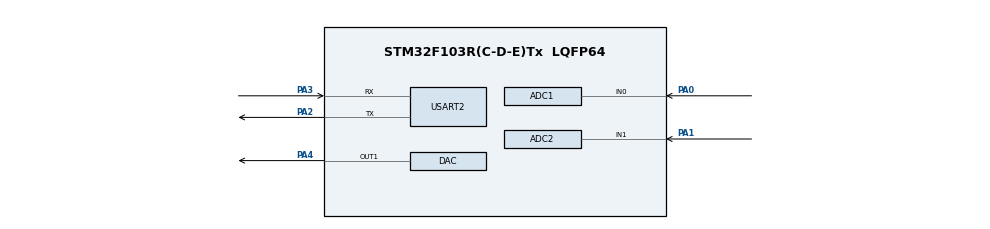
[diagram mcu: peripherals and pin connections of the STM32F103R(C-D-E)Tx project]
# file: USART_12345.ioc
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ADC1.Channel-0\#ChannelRegularConversion=ADC_CHANNEL_0
ADC1.EnableAnalogWatchDog=false
ADC1.EnableInjectedConversion=DISABLE
ADC1.InjNumberOfConversion=2
ADC1.NbrOfConversionFlag=1
ADC1.Rank-0\#ChannelRegularConversion=1
ADC1.SamplingTime-0\#ChannelRegularConversion=ADC_SAMPLETIME_1CYCLE_5
ADC1.master=1
ADC2.Channel-3\#ChannelRegularConversion=ADC_CHANNEL_1
ADC2.NbrOfConversionFlag=1
ADC2.Rank-3\#ChannelRegularConversion=1
ADC2.SamplingTime-3\#ChannelRegularConversion=ADC_SAMPLETIME_1CYCLE_5
Mcu.Family=STM32F1
Mcu.Name=STM32F103R(C-D-E)Tx
Mcu.Package=LQFP64
NVIC.ADC1_2_IRQn=true\:0\:0\:false\:false\:true\:true\:true
NVIC.PriorityGroup=NVIC_PRIORITYGROUP_4
NVIC.TIM4_IRQn=true\:0\:0\:false\:false\:true\:true\:true
NVIC.USART2_IRQn=true\:0\:0\:false\:false\:true\:true\:true
PA0-WKUP.Signal=ADCx_IN0
PA1.Signal=ADCx_IN1
PA13.Mode=Serial_Wire
PA13.Signal=SYS_JTMS-SWDIO
PA14.Mode=Serial_Wire
PA14.Signal=SYS_JTCK-SWCLK
PA2.Mode=Asynchronous
PA2.Signal=USART2_TX
PA3.Mode=Asynchronous
PA3.Signal=USART2_RX
PA4.Signal=COMP_DAC1_group
ProjectManager.HeapSize=0x200
ProjectManager.StackSize=0x400
ProjectManager.TargetToolchain=MDK-ARM V5.27
RCC.APB1Freq_Value=8000000
RCC.APB2Freq_Value=8000000
SH.ADCx_IN0.0=ADC1_IN0,IN0
SH.ADCx_IN1.0=ADC2_IN1,IN1
SH.COMP_DAC1_group.0=DAC_OUT1,DAC_OUT1
TIM4.Period=7999
TIM4.Prescaler=999
USART2.VirtualMode=VM_ASYNC
VP_TIM4_VS_ClockSourceINT.Mode=Internal
board=custom

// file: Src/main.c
/* USER CODE BEGIN Header */
/**
  ******************************************************************************
  * @file           : main.c
  * @brief          : Main program body
  ******************************************************************************
  * @attention
  *
  * <h2><center>&copy; Copyright (c) 2020 STMicroelectronics.
  * All rights reserved.</center></h2>
  *
  * This software component is licensed by ST under BSD 3-Clause license,
  * the "License"; You may not use this file except in compliance with the
  * License. You may obtain a copy of the License at:
  *                        opensource.org/licenses/BSD-3-Clause
  *
  ******************************************************************************
  */
/* USER CODE END Header */

#include "main.h"
#include "stdio.h"

ADC_HandleTypeDef hadc1;
ADC_HandleTypeDef hadc2;

DAC_HandleTypeDef hdac;

TIM_HandleTypeDef htim4;

UART_HandleTypeDef huart2;

void SystemClock_Config(void);
static void MX_GPIO_Init(void);
static void MX_TIM4_Init(void);
static void MX_USART2_UART_Init(void);
static void MX_ADC1_Init(void);
static void MX_DAC_Init(void);
static void MX_ADC2_Init(void);

int main(void)
{
  /* USER CODE BEGIN 1 */

	//USART
	float u1;	// Peremennaia dla peredachi po USART 1
	float a2; // Peremennaia dla peredachi po USART 2

	//Schetchik
	uint16_t d; // shcentchik discret

	//USART frame
	char str1[21];// dlia voltage
	char str2[21];// dlia toka
	char str3[21];// dlia discret
	//Koefficient ysilenia
	//int k;

	//uint8_t slstroka[]="\r\n";

	//char kek[9];
  /* USER CODE END 1 */

  /* MCU Configuration--------------------------------------------------------*/

  /* Reset of all peripherals, Initializes the Flash interface and the Systick. */
  HAL_Init();

  /* Configure the system clock */
  SystemClock_Config();

  /* Initialize all configured peripherals */
  MX_GPIO_Init();
  MX_TIM4_Init();
  MX_USART2_UART_Init();
  MX_ADC1_Init();
  MX_DAC_Init();
  MX_ADC2_Init();

  /* USER CODE BEGIN 2 */
	HAL_DAC_Start(&hdac, DAC_CHANNEL_1);// nachalo raboti
	//HAL_ADC_Start(&hadc1);// vkluschenie preobrazovania ACD
  /* USER CODE END 2 */

  /* Infinite loop */
  /* USER CODE BEGIN WHILE */
		HAL_Delay(1000);// predvaritelnai zadergka
		d=0;
  while (d<4095)
  {
		d=d+90;
		if (d==4095)
		break;

		// DAC
		HAL_DAC_Start(&hdac, DAC_CHANNEL_1);// nachalo raboti
		HAL_DAC_SetValue(&hdac, DAC_CHANNEL_1, DAC_ALIGN_12B_R,d);// podacha volt
		HAL_Delay(100);

		// ADC-1
		HAL_ADC_Start(&hadc1);// vkluschenie preobrazovania ACD
		HAL_ADC_PollForConversion (&hadc1,100);// gdem okonchanie processa
		u1= ((float)HAL_ADC_GetValue (&hadc1))*3.3/4095;// predstavlenie v voltax
		//u1= ((float)HAL_ADC_GetValue (&hadc1));// disckretnoe predstavlenie
		HAL_ADC_Stop(&hadc1);// ostanovka preobrazovania

		//ADC-2
		HAL_ADC_Start(&hadc2);// vkluschenie preobrazovania ACD
		HAL_ADC_PollForConversion (&hadc2,100);// gdem okonchanie processa
		a2= -(float)(((((float)HAL_ADC_GetValue (&hadc2))*3.3/4095)/8.2-0.402)*1000);// predstavlenie v ampier
		//u2= ((float)HAL_ADC_GetValue (&hadc2));// disckretnoe predstavlenie
		HAL_ADC_Stop(&hadc2);// ostanovka preobrazovania

		//Coefficient ysilenia
		//k=;
		//USART PEREDACHA
		sprintf( str1,"%.3f V__",u1);// preobrazovanie resultata v stroky
		HAL_UART_Transmit(&huart2,(uint8_t*)str1 ,9,0xFFFF);// otpravka dannix
		HAL_Delay(100);

		sprintf( str2,"%.3f mA__",a2);// preobrazovanie resultata v stroky
		HAL_UART_Transmit(&huart2,(uint8_t*)str2 ,9,0xFFFF);// otpravka dannix
		HAL_Delay(100);

		sprintf( str3,"__%d \r\n  ",d);// preobrazovanie resultata v stroky
		HAL_UART_Transmit(&huart2,(uint8_t*)str3 ,8,0xFFFF);// otpravka dannix
		HAL_Delay(100);

		//ZADERGKA
		HAL_Delay(500);

    /* USER CODE END WHILE */

  }
}

void SystemClock_Config(void)

{
  RCC_OscInitTypeDef RCC_OscInitStruct = {0};
  RCC_ClkInitTypeDef RCC_ClkInitStruct = {0};
  RCC_PeriphCLKInitTypeDef PeriphClkInit = {0};

  /** Initializes the CPU, AHB and APB busses clocks
  */
  RCC_OscInitStruct.OscillatorType = RCC_OSCILLATORTYPE_HSI;
  RCC_OscInitStruct.HSIState = RCC_HSI_ON;
  RCC_OscInitStruct.HSICalibrationValue = RCC_HSICALIBRATION_DEFAULT;
  RCC_OscInitStruct.PLL.PLLState = RCC_PLL_NONE;
  if (HAL_RCC_OscConfig(&RCC_OscInitStruct) != HAL_OK)
  {
    Error_Handler();
  }
  /** Initializes the CPU, AHB and APB busses clocks
  */
  RCC_ClkInitStruct.ClockType = RCC_CLOCKTYPE_HCLK|RCC_CLOCKTYPE_SYSCLK
                              |RCC_CLOCKTYPE_PCLK1|RCC_CLOCKTYPE_PCLK2;
  RCC_ClkInitStruct.SYSCLKSource = RCC_SYSCLKSOURCE_HSI;
  RCC_ClkInitStruct.AHBCLKDivider = RCC_SYSCLK_DIV1;
  RCC_ClkInitStruct.APB1CLKDivider = RCC_HCLK_DIV1;
  RCC_ClkInitStruct.APB2CLKDivider = RCC_HCLK_DIV1;

  if (HAL_RCC_ClockConfig(&RCC_ClkInitStruct, FLASH_LATENCY_0) != HAL_OK)
  {
    Error_Handler();
  }
  PeriphClkInit.PeriphClockSelection = RCC_PERIPHCLK_ADC;
  PeriphClkInit.AdcClockSelection = RCC_ADCPCLK2_DIV2;
  if (HAL_RCCEx_PeriphCLKConfig(&PeriphClkInit) != HAL_OK)
  {
    Error_Handler();
  }
}

static void MX_ADC1_Init(void)
{

  ADC_ChannelConfTypeDef sConfig = {0};

  /** Common config
  */
  hadc1.Instance = ADC1;
  hadc1.Init.ScanConvMode = ADC_SCAN_ENABLE;
  hadc1.Init.ContinuousConvMode = DISABLE;
  hadc1.Init.DiscontinuousConvMode = DISABLE;
  hadc1.Init.ExternalTrigConv = ADC_SOFTWARE_START;
  hadc1.Init.DataAlign = ADC_DATAALIGN_RIGHT;
  hadc1.Init.NbrOfConversion = 1;
  if (HAL_ADC_Init(&hadc1) != HAL_OK)
  {
    Error_Handler();
  }
  /** Configure Regular Channel
  */
  sConfig.Channel = ADC_CHANNEL_0;
  sConfig.Rank = ADC_REGULAR_RANK_1;
  sConfig.SamplingTime = ADC_SAMPLETIME_1CYCLE_5;
  if (HAL_ADC_ConfigChannel(&hadc1, &sConfig) != HAL_OK)
  {
    Error_Handler();
  }

}

static void MX_ADC2_Init(void)
{

  ADC_ChannelConfTypeDef sConfig = {0};

  /** Common config
  */
  hadc2.Instance = ADC2;
  hadc2.Init.ScanConvMode = ADC_SCAN_DISABLE;
  hadc2.Init.ContinuousConvMode = DISABLE;
  hadc2.Init.DiscontinuousConvMode = DISABLE;
  hadc2.Init.ExternalTrigConv = ADC_SOFTWARE_START;
  hadc2.Init.DataAlign = ADC_DATAALIGN_RIGHT;
  hadc2.Init.NbrOfConversion = 1;
  if (HAL_ADC_Init(&hadc2) != HAL_OK)
  {
    Error_Handler();
  }
  /** Configure Regular Channel
  */
  sConfig.Channel = ADC_CHANNEL_1;
  sConfig.Rank = ADC_REGULAR_RANK_1;
  sConfig.SamplingTime = ADC_SAMPLETIME_1CYCLE_5;
  if (HAL_ADC_ConfigChannel(&hadc2, &sConfig) != HAL_OK)
  {
    Error_Handler();
  }

}

static void MX_DAC_Init(void)
{

  DAC_ChannelConfTypeDef sConfig = {0};

  /** DAC Initialization
  */
  hdac.Instance = DAC;
  if (HAL_DAC_Init(&hdac) != HAL_OK)
  {
    Error_Handler();
  }
  /** DAC channel OUT1 config
  */
  sConfig.DAC_Trigger = DAC_TRIGGER_NONE;
  sConfig.DAC_OutputBuffer = DAC_OUTPUTBUFFER_ENABLE;
  if (HAL_DAC_ConfigChannel(&hdac, &sConfig, DAC_CHANNEL_1) != HAL_OK)
  {
    Error_Handler();
  }

}

static void MX_TIM4_Init(void)
{

  TIM_ClockConfigTypeDef sClockSourceConfig = {0};
  TIM_MasterConfigTypeDef sMasterConfig = {0};

  htim4.Instance = TIM4;
  htim4.Init.Prescaler = 999;
  htim4.Init.CounterMode = TIM_COUNTERMODE_UP;
  htim4.Init.Period = 7999;
  htim4.Init.ClockDivision = TIM_CLOCKDIVISION_DIV1;
  htim4.Init.AutoReloadPreload = TIM_AUTORELOAD_PRELOAD_DISABLE;
  if (HAL_TIM_Base_Init(&htim4) != HAL_OK)
  {
    Error_Handler();
  }
  sClockSourceConfig.ClockSource = TIM_CLOCKSOURCE_INTERNAL;
  if (HAL_TIM_ConfigClockSource(&htim4, &sClockSourceConfig) != HAL_OK)
  {
    Error_Handler();
  }
  sMasterConfig.MasterOutputTrigger = TIM_TRGO_RESET;
  sMasterConfig.MasterSlaveMode = TIM_MASTERSLAVEMODE_DISABLE;
  if (HAL_TIMEx_MasterConfigSynchronization(&htim4, &sMasterConfig) != HAL_OK)
  {
    Error_Handler();
  }

}

static void MX_USART2_UART_Init(void)
{

  huart2.Instance = USART2;
  huart2.Init.BaudRate = 115200;
  huart2.Init.WordLength = UART_WORDLENGTH_8B;
  huart2.Init.StopBits = UART_STOPBITS_1;
  huart2.Init.Parity = UART_PARITY_NONE;
  huart2.Init.Mode = UART_MODE_TX_RX;
  huart2.Init.HwFlowCtl = UART_HWCONTROL_NONE;
  huart2.Init.OverSampling = UART_OVERSAMPLING_16;
  if (HAL_UART_Init(&huart2) != HAL_OK)
  {
    Error_Handler();
  }

}

static void MX_GPIO_Init(void)
{

  /* GPIO Ports Clock Enable */
  __HAL_RCC_GPIOA_CLK_ENABLE();

}

void Error_Handler(void)
{
}

/************************ (C) COPYRIGHT STMicroelectronics *****END OF FILE****/
